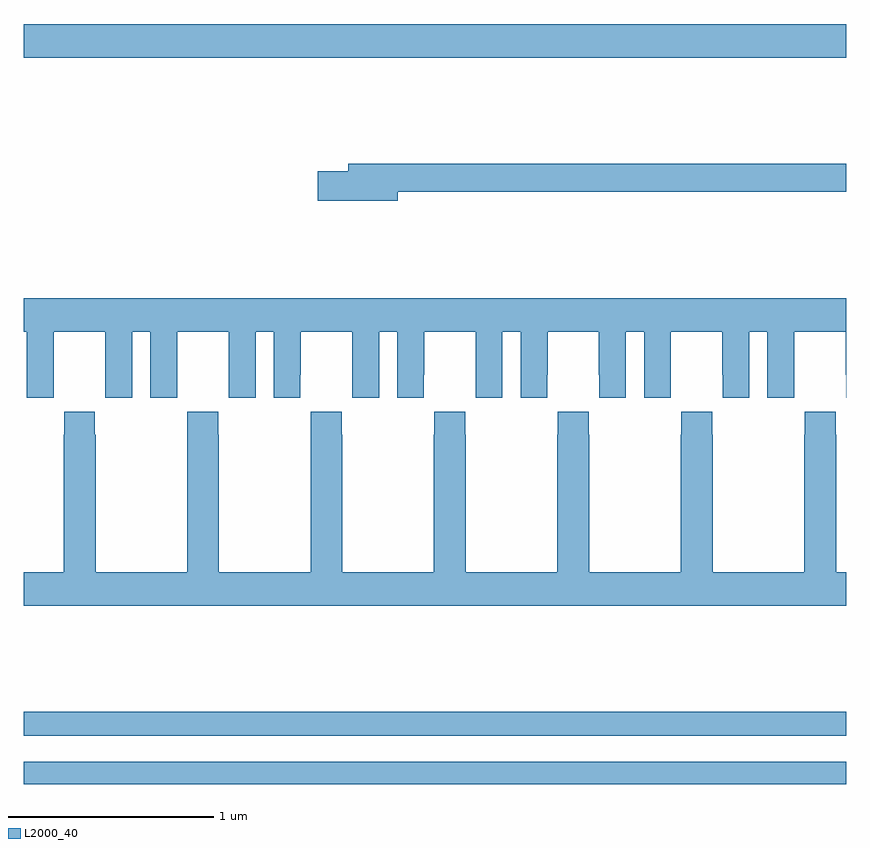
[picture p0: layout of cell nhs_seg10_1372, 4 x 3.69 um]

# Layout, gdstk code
import gdstk
lib = gdstk.Library(unit=1e-6, precision=1e-09)
def R(c, l, rs):  # rectangles x0, y0, x1, y1
    for r in rs: c.add(gdstk.rectangle(r[:2], r[2:], *l))
def P(c, l, *ps):  # polygons
    for p in ps: c.add(gdstk.Polygon(p, *l))
L2000_40 = (2000, 40)

nhs_seg10_1372 = lib.new_cell('nhs_seg10_1372')
R(nhs_seg10_1372, L2000_40, [(181,1320.762,185,1320.87), (181,1320.996,185,1321.112), (181,1324.292,185,1324.456)])
P(nhs_seg10_1372, L2000_40, [(182.818,1323.64),(185,1323.64),(185,1323.776),(182.579,1323.776),(182.579,1323.74),(182.43,1323.74),(182.43,1323.598),(182.818,1323.598)],
  [(181.146,1322.752),(181.147,1322.752),(181.147,1322.96),(181.397,1322.96),(181.397,1322.752),(181.398,1322.752),(181.398,1322.64),(181.528,1322.64),(181.528,1322.96),(181.616,1322.96),(181.616,1322.64),(181.746,1322.64),(181.746,1322.752),(181.747,1322.752),(181.747,1322.96),(181.997,1322.96),(181.997,1322.752),(181.998,1322.752),(181.998,1322.64),(182.128,1322.64),(182.128,1322.96),(182.216,1322.96),(182.216,1322.64),(182.346,1322.64),(182.346,1322.752),(182.347,1322.752),(182.347,1322.96),(182.597,1322.96),(182.597,1322.752),(182.598,1322.752),(182.598,1322.64),(182.728,1322.64),(182.728,1322.96),(182.816,1322.96),(182.816,1322.64),(182.946,1322.64),(182.946,1322.752),(182.947,1322.752),(182.947,1322.96),(183.197,1322.96),(183.197,1322.752),(183.198,1322.752),(183.198,1322.64),(183.328,1322.64),(183.328,1322.96),(183.416,1322.96),(183.416,1322.64),(183.546,1322.64),(183.546,1322.752),(183.547,1322.752),(183.547,1322.96),(183.797,1322.96),(183.797,1322.752),(183.798,1322.752),(183.798,1322.64),(183.928,1322.64),(183.928,1322.96),(184.016,1322.96),(184.016,1322.64),(184.146,1322.64),(184.146,1322.752),(184.147,1322.752),(184.147,1322.96),(184.397,1322.96),(184.397,1322.752),(184.398,1322.752),(184.398,1322.64),(184.528,1322.64),(184.528,1322.96),(184.616,1322.96),(184.616,1322.64),(184.746,1322.64),(184.746,1322.752),(184.747,1322.752),(184.747,1322.96),(184.997,1322.96),(184.997,1322.752),(184.998,1322.752),(184.998,1322.64),(185,1322.64),(185,1323.124),(181,1323.124),(181,1322.96),(181.016,1322.96),(181.016,1322.64),(181.146,1322.64)],
  [(185,1321.792),(184.95,1321.792),(184.95,1322.459),(184.947,1322.459),(184.947,1322.572),(184.797,1322.572),(184.797,1322.459),(184.795,1322.459),(184.795,1321.792),(184.35,1321.792),(184.35,1322.459),(184.347,1322.459),(184.347,1322.572),(184.197,1322.572),(184.197,1322.459),(184.195,1322.459),(184.195,1321.792),(183.75,1321.792),(183.75,1322.459),(183.747,1322.459),(183.747,1322.572),(183.597,1322.572),(183.597,1322.459),(183.595,1322.459),(183.595,1321.792),(183.15,1321.792),(183.15,1322.459),(183.147,1322.459),(183.147,1322.572),(182.997,1322.572),(182.997,1322.459),(182.995,1322.459),(182.995,1321.792),(182.55,1321.792),(182.55,1322.459),(182.547,1322.459),(182.547,1322.572),(182.397,1322.572),(182.397,1322.459),(182.395,1322.459),(182.395,1321.792),(181.95,1321.792),(181.95,1322.459),(181.947,1322.459),(181.947,1322.572),(181.797,1322.572),(181.797,1322.459),(181.795,1322.459),(181.795,1321.792),(181.35,1321.792),(181.35,1322.459),(181.347,1322.459),(181.347,1322.572),(181.197,1322.572),(181.197,1322.459),(181.195,1322.459),(181.195,1321.792),(181,1321.792),(181,1321.628),(185,1321.628)])

lib.write_gds('nhs_seg10_1372.gds')
